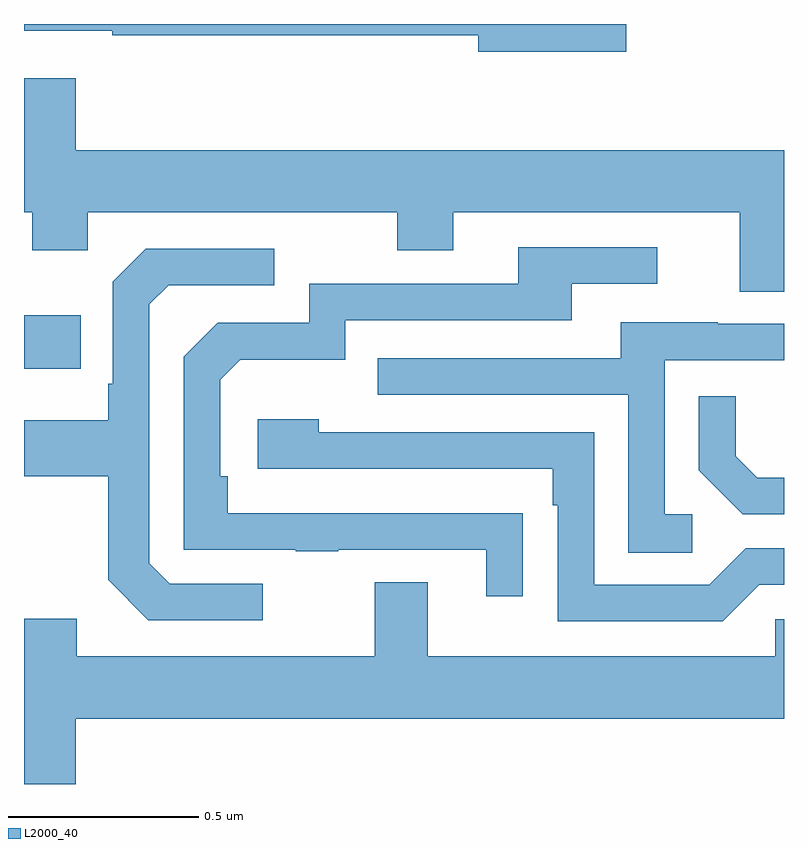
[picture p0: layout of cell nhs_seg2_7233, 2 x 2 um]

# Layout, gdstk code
import gdstk
lib = gdstk.Library(unit=1e-6, precision=1e-09)
def R(c, l, rs):  # rectangles x0, y0, x1, y1
    for r in rs: c.add(gdstk.rectangle(r[:2], r[2:], *l))
def P(c, l, *ps):  # polygons
    for p in ps: c.add(gdstk.Polygon(p, *l))
L2000_40 = (2000, 40)

nhs_seg2_7233 = lib.new_cell('nhs_seg2_7233')
R(nhs_seg2_7233, L2000_40, [(201,645.893,201.149,646.033)])
P(nhs_seg2_7233, L2000_40, [(202.585,646.8),(201,646.8),(201,646.782),(201.232,646.782),(201.232,646.77),(202.196,646.77),(202.196,646.727),(202.585,646.727)],
  [(201.136,646.657),(201,646.657),(201,646.304),(201.022,646.304),(201.022,646.205),(201.168,646.205),(201.168,646.304),(201.982,646.304),(201.982,646.205),(202.129,646.205),(202.129,646.304),(202.883,646.304),(202.883,646.096),(203,646.096),(203,646.468),(201.136,646.468)],
  [(202.313,645.512),(202.211,645.512),(202.211,645.513),(201.536,645.513),(201.536,645.61),(201.516,645.61),(201.516,645.864),(201.569,645.917),(201.846,645.917),(201.846,646.02),(202.441,646.02),(202.441,646.116),(202.666,646.116),(202.666,646.212),(202.301,646.212),(202.301,646.116),(201.75,646.116),(201.75,646.014),(201.51,646.014),(201.42,645.924),(201.42,645.417),(201.715,645.417),(201.715,645.412),(201.827,645.412),(201.827,645.417),(202.217,645.417),(202.217,645.294),(202.313,645.294)],
  [(201.628,645.327),(201.384,645.327),(201.33,645.381),(201.33,646.062),(201.381,646.113),(201.658,646.113),(201.658,646.209),(201.321,646.209),(201.234,646.122),(201.234,645.853),(201.222,645.853),(201.222,645.757),(201,645.757),(201,645.61),(201.222,645.61),(201.222,645.337),(201.327,645.231),(201.628,645.231)],
  [(202.759,645.51),(202.686,645.51),(202.686,645.915),(203,645.915),(203,646.011),(202.825,646.011),(202.825,646.015),(202.571,646.015),(202.571,645.921),(201.931,645.921),(201.931,645.825),(202.59,645.825),(202.59,645.409),(202.759,645.409)],
  [(203,645.606),(202.93,645.606),(202.873,645.663),(202.873,645.82),(202.776,645.82),(202.776,645.626),(202.892,645.51),(203,645.51)],
  [(202.935,645.324),(203,645.324),(203,645.42),(202.899,645.42),(202.803,645.324),(202.5,645.324),(202.5,645.726),(201.776,645.726),(201.776,645.76),(201.615,645.76),(201.615,645.63),(202.391,645.63),(202.391,645.533),(202.404,645.533),(202.404,645.228),(202.839,645.228)],
  [(201.136,644.972),(203,644.972),(203,645.234),(202.977,645.234),(202.977,645.136),(202.063,645.136),(202.063,645.331),(201.923,645.331),(201.923,645.136),(201.139,645.136),(201.139,645.235),(201,645.235),(201,644.8),(201.136,644.8)])

lib.write_gds('nhs_seg2_7233.gds')
